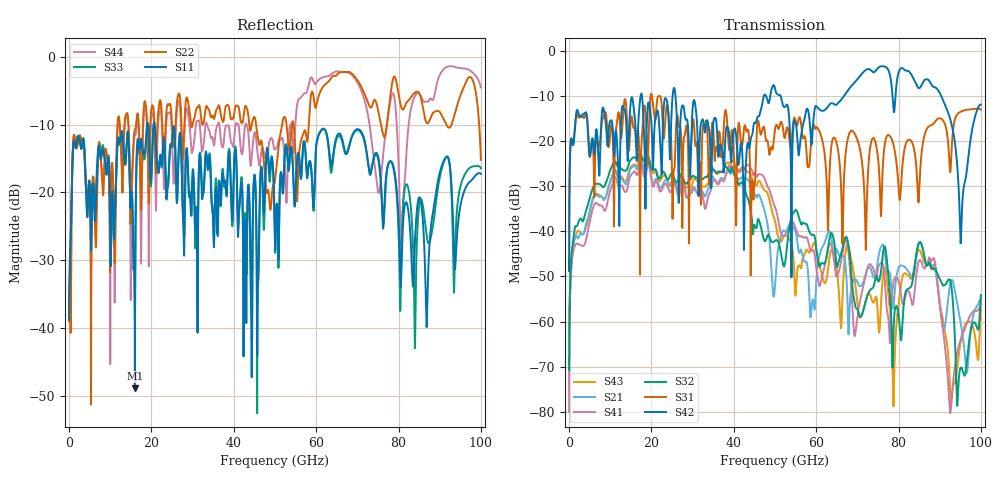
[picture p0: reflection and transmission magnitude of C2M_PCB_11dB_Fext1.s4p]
! Info: Touchstone file created by Circ.  Input file=Intel_C2M_200G_1in_202204012_staggered.circ
# Hz S RI R 50
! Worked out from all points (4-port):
!   10000 points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, 10 MHz to 100 GHz, reference 50 ohm
!   strongest paths, dB at 10 MHz, 25.01 GHz, 50.01 GHz, 75.01 GHz, 100 GHz:
!     S42: -48.8, -11.7, -8.4, -3.8, -11.9
!     S31: -48.8, -28.4, -17.4, -23.6, -13.0
!     S32: -70.8, -27.1, -42.1, -50.9, -54.1
!     S41: -80.0, -30.9, -34.6, -48.2, -56.0
!     S21: -73.8, -29.8, -52.0, -46.2, -54.9
!     S43: -73.9, -28.6, -37.7, -59.1, -57.0
!   lowest |S11| = -48.9 dB at 15.98 GHz (marker M1), VSWR 1.01, Z = 49.8 - j0.286 ohm
!   |S11| at or under -10 dB: start of sweep to 18.93 GHz; 19.18 GHz to 20.5 GHz (1.324 GHz wide, 6.67 % of centre); 20.78 GHz to end of sweep
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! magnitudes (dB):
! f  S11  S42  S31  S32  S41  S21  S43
! 10 MHz  -38.8  -48.8  -48.8  -70.8  -80.0  -73.8  -73.9
! 1.35 GHz  -12.8  -18.0  -17.6  -39.4  -43.3  -41.4  -41.8
! 15.98 GHz  -48.9  -14.9  -17.2  -23.6  -26.7  -25.5  -25.2
! 80.96 GHz  -26.4  -3.9  -25.3  -60.1  -56.0  -47.7  -50.2
! 85.32 GHz  -21.0  -8.1  -25.8  -42.4  -46.4  -42.4  -44.5
! 95.17 GHz  -21.5  -41.3  -13.5  -70.2  -63.8  -60.7  -64.1
! 100 GHz  -17.3  -11.9  -13.0  -54.1  -56.0  -54.9  -57.0
